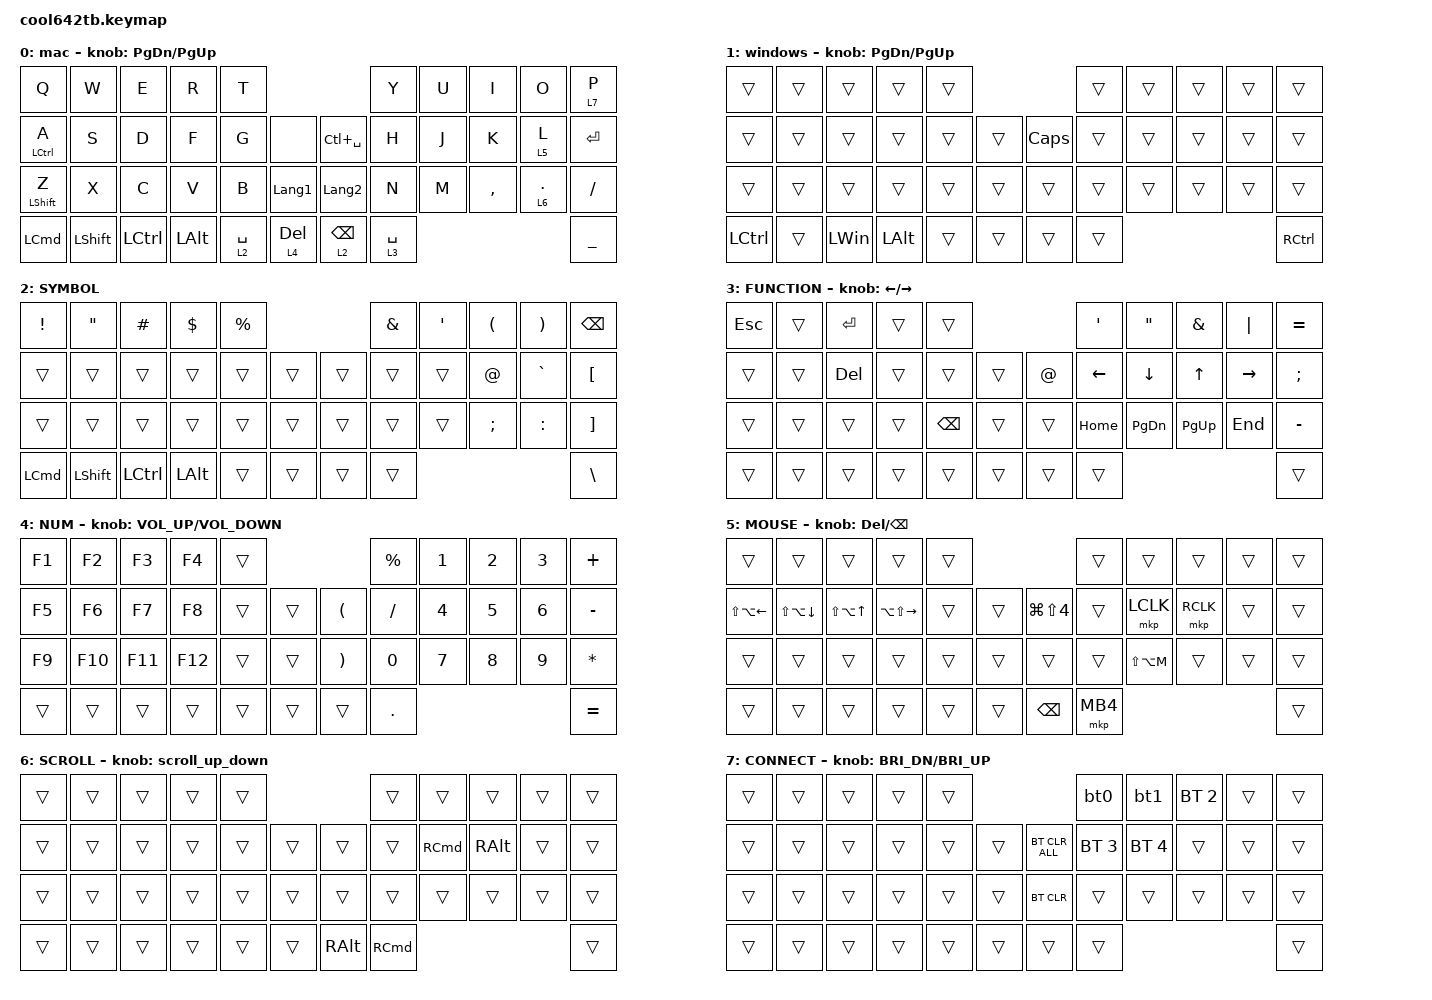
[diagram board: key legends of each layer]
#include <behaviors.dtsi>
#include <dt-bindings/zmk/bt.h>
#include <dt-bindings/zmk/keys.h>
#include <dt-bindings/zmk/pointing.h>

#define MOUSE 6
#define SCROLL 7

// #includeのあとのあたりにスクロール量を変更

#define ZMK_MOUSE_POINTING_SCRL_VAL 100

&mt {
    flavor = "balanced";
    quick-tap-ms = <0>;
};

/ {
    combos {
        compatible = "zmk,combos";

        comb1 {
            bindings = <&kp TAB>;
            key-positions = <11 10>;
        };

        comb2 {
            bindings = <&kp ESCAPE>;
            key-positions = <0 1>;
        };

        comb3 {
            bindings = <&kp LEFT_SHIFT>;
            key-positions = <22 23>;
        };

        comb4 {
            bindings = <&kp LEFT_SHIFT>;
            key-positions = <33 32>;
        };

        comb5 {
            bindings = <&kp MINUS>;
            key-positions = <9 8>;
        };

        comb6 {
            bindings = <&kp CAPSLOCK>;
            key-positions = <10 11 12>;
        };

        comb7 {
            bindings = <&kp SEMI>;
            key-positions = <32 33>;
        };
    };

    macros {
        to_layer_0: to_layer_0 {
            compatible = "zmk,behavior-macro-one-param";
            #binding-cells = <1>;
            bindings = <&to 0 &macro_param_1to1 &kp MACRO_PLACEHOLDER>;
            label = "TO_LAYER_0";
        };

        ret_kp: ret_kp {
            compatible = "zmk,behavior-macro-one-param";
            #binding-cells = <1>;
            bindings =
                <&to 0 &macro_param_1to1>,
                <&macro_press>,
                <&kp MACRO_PLACEHOLDER>,
                <&macro_pause_for_release>,
                <&macro_param_1to1>,
                <&macro_release>,
                <&kp MACRO_PLACEHOLDER>;

            label = "RET_KP";
        };

        bt0: bt0 {
            compatible = "zmk,behavior-macro";
            #binding-cells = <0>;
            bindings =
                <&tog_off 1 &tog_off 0>,
                <&macro_wait_time 200>,
                <&bt BT_SEL 0>,
                <&macro_wait_time 500>;

            label = "BT0";
        };

        bt1: bt1 {
            compatible = "zmk,behavior-macro";
            #binding-cells = <0>;
            bindings =
                <&tog_off 1 &tog_off 0>,
                <&macro_wait_time 200>,
                <&bt BT_SEL 1>,
                <&macro_wait_time 500>,
                <&tog_on 1>;

            label = "BT1";
        };
    };

    behaviors {
        lt_to_layer_0: lt_to_layer_0 {
            compatible = "zmk,behavior-hold-tap";
            label = "LAYER_TAP_TO_0";
            bindings = <&mo>, <&to_layer_0>;

            #binding-cells = <2>;
            tapping-term-ms = <200>;
        };

        // 新しいスクロール動作の追加

        scroll_up_down: behavior_sensor_rotate_mouse_wheel_up_down {
            compatible = "zmk,behavior-sensor-rotate";
            #sensor-binding-cells = <0>;
            bindings = <&msc SCRL_UP>, <&msc SCRL_DOWN>;

            // 追加: スクロールのタップ時間を設定 (20ms)

            tap-ms = <20>;
        };

        tog_on: toggle_layer_on_only {
            compatible = "zmk,behavior-toggle-layer";
            #binding-cells = <1>;
            display-name = "Toggle Layer On";
            toggle-mode = "on";
        };

        tog_off: toggle_layer_off_only {
            compatible = "zmk,behavior-toggle-layer";
            #binding-cells = <1>;
            display-name = "Toggle Layer Off";
            toggle-mode = "off";
        };
    };

    keymap {
        compatible = "zmk,keymap";

        mac {
            bindings = <
&kp Q               &kp W           &kp E             &kp R         &kp T                                         &kp Y        &kp U  &kp I      &kp O         &lt 7 P
&mt LEFT_CONTROL A  &kp S           &kp D             &kp F         &kp G        &none           &kp LC(SPACE)    &kp H        &kp J  &kp K      &lt 5 L       &kp ENTER
&mt LEFT_SHIFT Z    &kp X           &kp C             &kp V         &kp B        &kp LANGUAGE_1  &kp LANGUAGE_2   &kp N        &kp M  &kp COMMA  &lt 6 PERIOD  &kp SLASH
&kp LEFT_COMMAND    &kp LEFT_SHIFT  &kp LEFT_CONTROL  &kp LEFT_ALT  &lt 2 SPACE  &lt 4 DELETE    &lt 2 BACKSPACE  &lt 3 SPACE                                  &kp UNDERSCORE
            >;

            sensor-bindings = <&inc_dec_kp PAGE_DOWN PG_UP>;
        };

        windows {
            bindings = <
&trans            &trans  &trans    &trans        &trans                        &trans  &trans  &trans  &trans  &trans
&trans            &trans  &trans    &trans        &trans  &trans  &kp CAPSLOCK  &trans  &trans  &trans  &trans  &trans
&trans            &trans  &trans    &trans        &trans  &trans  &trans        &trans  &trans  &trans  &trans  &trans
&kp LEFT_CONTROL  &trans  &kp LWIN  &kp LEFT_ALT  &trans  &trans  &trans        &trans                          &kp RIGHT_CONTROL
            >;

            sensor-bindings = <&inc_dec_kp PAGE_DOWN PAGE_UP>;
        };

        SYMBOL {
            bindings = <
&kp EXCLAMATION   &kp DOUBLE_QUOTES  &kp HASH   &kp DOLLAR    &kp PERCENT                  &kp AMPERSAND  &kp SINGLE_QUOTE  &kp LEFT_PARENTHESIS  &kp RIGHT_PARENTHESIS  &kp BACKSPACE
&trans            &trans             &trans     &trans        &trans       &trans  &trans  &trans         &trans            &kp AT_SIGN           &kp GRAVE              &kp LEFT_BRACKET
&trans            &trans             &trans     &trans        &trans       &trans  &trans  &trans         &trans            &kp SEMICOLON         &kp COLON              &kp RIGHT_BRACKET
&kp LEFT_COMMAND  &kp LEFT_SHIFT     &kp LCTRL  &kp LEFT_ALT  &trans       &trans  &trans  &trans                                                                        &kp BACKSLASH
            >;
        };

        FUNCTION {
            bindings = <
&kp ESC  &trans  &kp ENTER   &trans  &trans                         &kp SINGLE_QUOTE  &kp DOUBLE_QUOTES  &kp AMPERSAND  &kp PIPE         &kp EQUAL
&trans   &trans  &kp DELETE  &trans  &trans         &trans  &kp AT  &kp LEFT          &kp DOWN_ARROW     &kp UP_ARROW   &kp RIGHT_ARROW  &kp SEMICOLON
&trans   &trans  &trans      &trans  &kp BACKSPACE  &trans  &trans  &kp HOME          &kp PAGE_DOWN      &kp PAGE_UP    &kp END          &kp MINUS
&trans   &trans  &trans      &trans  &trans         &trans  &trans  &trans                                                               &trans
            >;

            sensor-bindings = <&inc_dec_kp LEFT_ARROW RIGHT_ARROW>;
        };

        NUM {
            bindings = <
&kp F1  &kp F2   &kp F3   &kp F4   &trans                                 &kp PERCENT   &kp NUMBER_1  &kp NUMBER_2  &kp NUMBER_3  &kp PLUS
&kp F5  &kp F6   &kp F7   &kp F8   &trans  &trans  &kp LEFT_PARENTHESIS   &kp SLASH     &kp NUMBER_4  &kp NUMBER_5  &kp NUMBER_6  &kp MINUS
&kp F9  &kp F10  &kp F11  &kp F12  &trans  &trans  &kp RIGHT_PARENTHESIS  &kp NUMBER_0  &kp NUMBER_7  &kp NUMBER_8  &kp NUMBER_9  &kp ASTRK
&trans  &trans   &trans   &trans   &trans  &trans  &trans                 &kp DOT                                                 &kp EQUAL
            >;

            sensor-bindings = <&inc_dec_kp K_VOLUME_UP K_VOLUME_DOWN>;
        };

        MOUSE {
            bindings = <
&trans            &trans            &trans                &trans             &trans                                &trans    &trans         &trans     &trans  &trans
&kp LS(LA(LEFT))  &kp LS(LA(DOWN))  &kp LS(LA(UP_ARROW))  &kp LA(LS(RIGHT))  &trans  &trans  &kp LG(LS(NUMBER_4))  &trans    &mkp LCLK      &mkp RCLK  &trans  &trans
&trans            &trans            &trans                &trans             &trans  &trans  &trans                &trans    &kp LS(LA(M))  &trans     &trans  &trans
&trans            &trans            &trans                &trans             &trans  &trans  &kp BACKSPACE         &mkp MB4                                    &trans
            >;

            sensor-bindings = <&inc_dec_kp DELETE BACKSPACE>;
        };

        SCROLL {
            bindings = <
&trans  &trans  &trans  &trans  &trans                         &trans             &trans             &trans         &trans  &trans
&trans  &trans  &trans  &trans  &trans  &trans  &trans         &trans             &kp RIGHT_COMMAND  &kp RIGHT_ALT  &trans  &trans
&trans  &trans  &trans  &trans  &trans  &trans  &trans         &trans             &trans             &trans         &trans  &trans
&trans  &trans  &trans  &trans  &trans  &trans  &kp RIGHT_ALT  &kp RIGHT_COMMAND                                            &trans
            >;

            // マウススクロール

            sensor-bindings = <&scroll_up_down>;
        };

        CONNECT {
            bindings = <
&trans  &trans  &trans  &trans  &trans                          &bt0          &bt1          &bt BT_SEL 2  &trans  &trans
&trans  &trans  &trans  &trans  &trans  &trans  &bt BT_CLR_ALL  &bt BT_SEL 3  &bt BT_SEL 4  &trans        &trans  &trans
&trans  &trans  &trans  &trans  &trans  &trans  &bt BT_CLR      &trans        &trans        &trans        &trans  &trans
&trans  &trans  &trans  &trans  &trans  &trans  &trans          &trans                                            &trans
            >;

            sensor-bindings = <&inc_dec_kp C_BRI_DN C_BRI_UP>;
        };
    };
};
